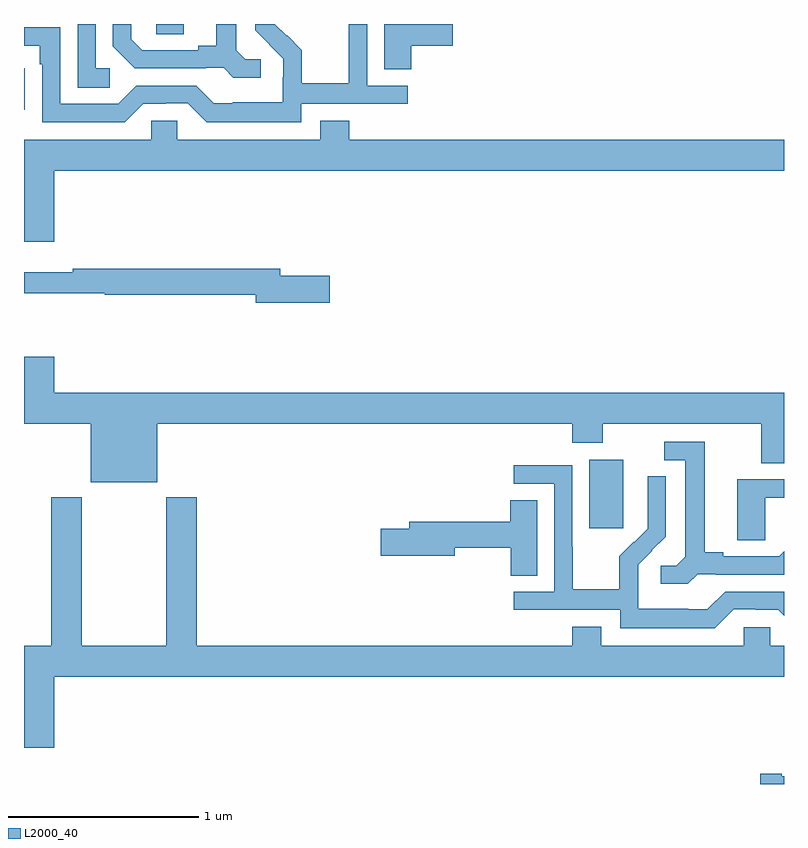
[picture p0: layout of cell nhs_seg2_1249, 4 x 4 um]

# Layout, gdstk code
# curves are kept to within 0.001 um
import gdstk
lib = gdstk.Library(unit=1e-6, precision=1e-09)
def R(c, l, rs):  # rectangles x0, y0, x1, y1
    for r in rs: c.add(gdstk.rectangle(r[:2], r[2:], *l))
def P(c, l, *ps):  # polygons
    for p in ps: c.add(gdstk.Polygon(p, *l))
L2000_40 = (2000, 40)

nhs_seg2_1249 = lib.new_cell('nhs_seg2_1249')
R(nhs_seg2_1249, L2000_40, [(179.975,587.145,180.154,587.506), (177,589.35,177.005,589.568), (177.696,589.747,177.841,589.8)])
P(nhs_seg2_1249, L2000_40, [(177.451,589.566),(177.378,589.566),(177.378,589.8),(177.282,589.8),(177.282,589.465),(177.451,589.465)],
  [(178.458,589.38),(179.02,589.38),(179.02,589.476),(178.806,589.476),(178.806,589.8),(178.71,589.8),(178.71,589.712),(178.708,589.712),(178.708,589.489),(178.463,589.489),(178.463,589.663),(178.386,589.74),(178.383,589.737),(178.321,589.8),(178.218,589.8),(178.218,589.766),(178.364,589.618),(178.364,589.521),(178.362,589.521),(178.362,589.387),(178.099,589.387),(178.099,589.383),(177.999,589.383),(177.906,589.476),(177.591,589.476),(177.495,589.38),(177.192,589.38),(177.192,589.782),(177,589.782),(177,589.686),(177.083,589.686),(177.083,589.589),(177.096,589.589),(177.096,589.284),(177.531,589.284),(177.627,589.38),(177.746,589.38),(177.746,589.383),(177.861,589.383),(177.961,589.283),(178.458,589.283)],
  [(179.039,589.685),(179.257,589.685),(179.257,589.8),(178.895,589.8),(178.895,589.561),(179.039,589.561)],
  [(178.246,589.614),(178.164,589.614),(178.117,589.661),(178.117,589.8),(178.013,589.8),(178.013,589.685),(177.917,589.685),(177.917,589.662),(177.622,589.662),(177.565,589.719),(177.565,589.8),(177.468,589.8),(177.468,589.682),(177.584,589.566),(177.956,589.566),(177.956,589.569),(178.05,589.569),(178.102,589.517),(178.246,589.517)],
  [(177.16,589.028),(181,589.028),(181,589.192),(178.712,589.192),(178.712,589.291),(178.559,589.291),(178.559,589.192),(177.807,589.192),(177.807,589.29),(177.669,589.29),(177.669,589.192),(177,589.192),(177,588.654),(177.16,588.654)],
  [(178.609,588.476),(178.348,588.476),(178.348,588.512),(177.256,588.512),(177.256,588.493),(177,588.493),(177,588.384),(177.424,588.384),(177.424,588.376),(178.22,588.376),(178.22,588.334),(178.609,588.334)],
  [(177.7,587.696),(179.885,587.696),(179.885,587.597),(180.045,587.597),(180.045,587.696),(180.881,587.696),(180.881,587.488),(181,587.488),(181,587.86),(177.16,587.86),(177.16,588.049),(177,588.049),(177,587.696),(177.35,587.696),(177.35,587.387),(177.7,587.387)],
  [(180.546,586.905),(180.64,586.905),(180.64,586.902),(181,586.902),(181,587.024),(180.974,586.998),(180.679,586.998),(180.679,587.021),(180.583,587.021),(180.583,587.601),(180.369,587.601),(180.369,587.505),(180.479,587.505),(180.479,586.997),(180.432,586.95),(180.351,586.95),(180.351,586.853),(180.494,586.853)],
  [(180.735,586.719),(180.851,586.719),(180.851,586.716),(180.969,586.716),(181,586.685),(181,586.812),(180.69,586.812),(180.597,586.719),(180.497,586.719),(180.497,586.723),(180.234,586.723),(180.234,586.857),(180.232,586.857),(180.232,586.954),(180.378,587.102),(180.378,587.42),(180.282,587.42),(180.282,587.266),(180.284,587.266),(180.284,587.144),(180.213,587.073),(180.21,587.076),(180.133,586.999),(180.133,586.825),(179.889,586.825),(179.889,587.048),(179.886,587.048),(179.886,587.478),(179.577,587.478),(179.577,587.379),(179.79,587.379),(179.79,586.812),(179.577,586.812),(179.577,586.716),(180.138,586.716),(180.138,586.619),(180.635,586.619)],
  [(180.9,587.307),(181,587.307),(181,587.403),(180.755,587.403),(180.755,587.083),(180.9,587.083)],
  [(177.16,586.364),(181,586.364),(181,586.528),(180.927,586.528),(180.927,586.626),(180.789,586.626),(180.789,586.528),(180.037,586.528),(180.037,586.627),(179.885,586.627),(179.885,586.528),(177.908,586.528),(177.908,587.308),(177.748,587.308),(177.748,586.528),(177.303,586.528),(177.303,587.308),(177.143,587.308),(177.143,586.528),(177,586.528),(177,585.99),(177.16,585.99)],
  [(179.701,587.294),(179.558,587.294),(179.558,587.18),(179.027,587.18),(179.027,587.144),(178.878,587.144),(178.878,587.002),(179.266,587.002),(179.266,587.044),(179.563,587.044),(179.563,586.897),(179.701,586.897)],
  [(181,585.841),(180.988,585.841),(180.988,585.854),(180.876,585.854),(180.876,585.8),(181,585.8)])

lib.write_gds('nhs_seg2_1249.gds')
